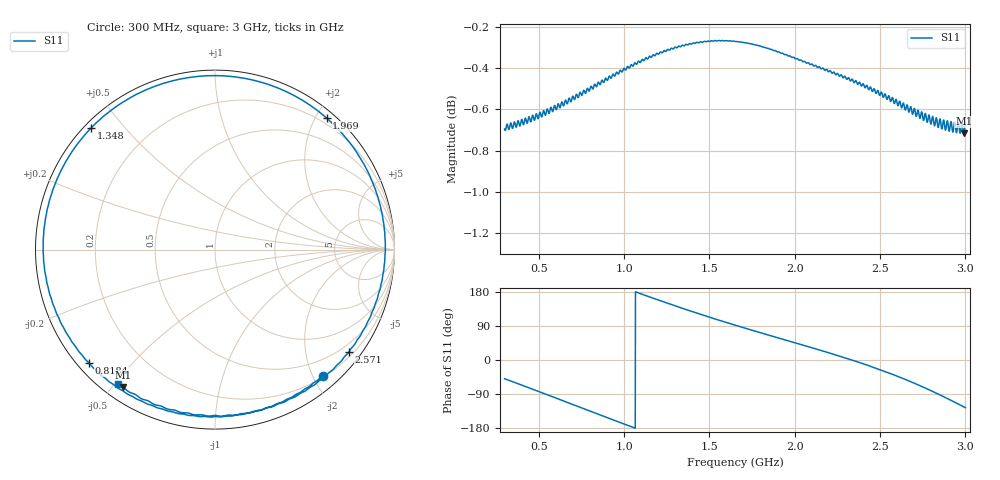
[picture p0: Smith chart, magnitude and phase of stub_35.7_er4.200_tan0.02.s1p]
! Chirptenna · simulación 3D de un stub abierto
# HZ S RI R 50
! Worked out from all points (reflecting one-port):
!   2001 points, 300 MHz to 3 GHz, reference 50 ohm
!   lowest |S11| = -0.7 dB at 2.991 GHz (marker M1), VSWR 24.26, Z = 2.65 - j26.7 ohm
!   phase of S11 starts at -49 deg and turns -436 deg over the sweep
!   S11 on the Smith chart (normalised r, x): 300 MHz: 0.23, -2.15; 818.4 MHz: 0.03, -0.38; 1.348 GHz: 0.02, +0.41; 1.969 GHz: 0.11, +2.15; 2.571 GHz: 0.30, -2.92; 3 GHz: 0.05, -0.51
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3e8  0.5996 -0.7019
3.918e8  0.3949 -0.8366
4.755e8  0.1778 -0.9105
5.592e8  -0.0536 -0.9296
6.375e8  -0.2707 -0.897
7.2795e8  -0.504 -0.7933
8.184e8  -0.7012 -0.6323
9.75e8  -0.9198 -0.2519
1.0533e9  -0.9555 -0.0367
1.137e9  -0.9405 0.1921
1.22205e9  -0.8719 0.4094
1.3125e9  -0.7489 0.6104
1.3476e9  -0.6892 0.6786
1.50015e9  -0.3789 0.8923
1.65e9  -0.0342 0.9688
1.8039e9  0.3098 0.9158
1.9686e9  0.622 0.7333
1.9875e9  0.6525 0.7053
2.15895e9  0.8686 0.3964
2.325e9  0.9481 0.0217
2.45325e9  0.8961 -0.2929
2.5707e9  0.7457 -0.5713
2.6625e9  0.5475 -0.7571
2.75565e9  0.2843 -0.8829
2.83935e9  0.00432 -0.924
2.90685e9  -0.2302 -0.8931
2.99055e9  -0.5106 -0.7663
3e9  -0.5417 -0.7513
